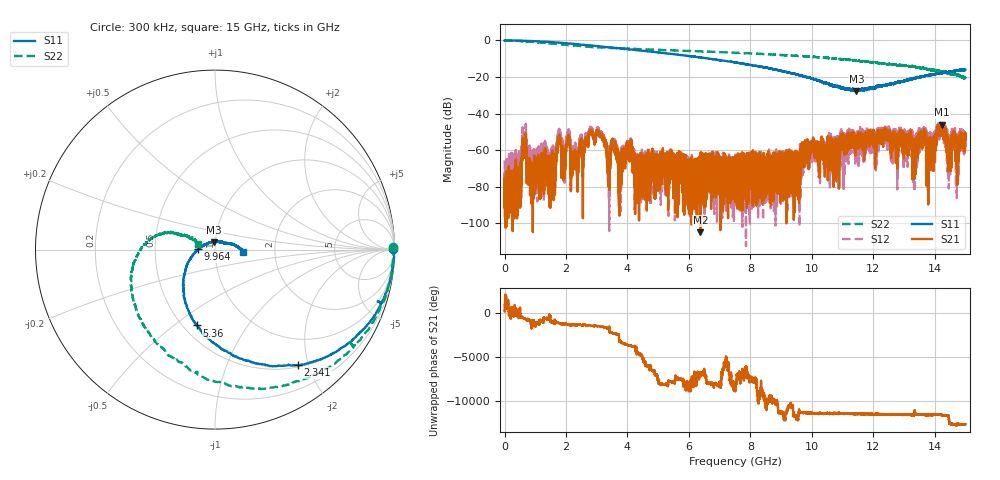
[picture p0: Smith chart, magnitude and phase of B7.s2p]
!Agilent Technologies,N5230C,SG49000117,A.08.50.07
!Agilent N5230C: A.08.50.07
!Date: Monday, December 11, 2023 21:35:51
!Correction: S11(Full 2 Port(1,2))
!S21(Full 2 Port(1,2))
!S12(Full 2 Port(1,2))
!S22(Full 2 Port(1,2))
!S2P File: Measurements: S11, S21, S12, S22:
# Hz S  RI  R 50
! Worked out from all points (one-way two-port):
!   20001 points, 300 kHz to 15 GHz, reference 50 ohm
!   highest |S21| = -46.07 dB at 14.24 GHz (marker M1); lowest = -104.9 dB at 6.376 GHz (marker M2)
!   lowest |S11| = -27.8 dB at 11.45 GHz (marker M3), VSWR 1.09, Z = 49.3 + j4.02 ohm
!   |S11| at or under -10 dB: 6.682459 GHz to 6.686089 GHz (3.63 MHz wide, 0.0543 % of centre); 6.68876 GHz to 6.691341 GHz (2.581 MHz wide, 0.0386 % of centre); 6.693 GHz to end of sweep (the widest 3 of 8)
!   |S22| runs from -21.0 to 0.0 dB; largest |S21 - S12| = 0.0032
!   S11 on the Smith chart (normalised r, x): 300 kHz: open; 2.341 GHz: 0.53, -1.83; 5.36 GHz: 0.58, -0.61; 9.964 GHz: 0.83, +0.00; 15 GHz: 1.37, -0.04
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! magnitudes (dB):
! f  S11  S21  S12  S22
! 300 kHz  -0.1  -75.8  -65.6  -0.1
! 478 MHz  -0.1  -79.7  -77.7  -0.3
! 644.5 MHz  -0.2  -60.2  -55.9  -0.4
! 901.8 MHz  -0.3  -78.3  -63.5  -0.7
! 1.589 GHz  -1.0  -69.3  -72.9  -1.7
! 1.767 GHz  -1.2  -54.2  -50.0  -2.1
! 2.341 GHz  -2.0  -67.9  -62.8  -2.8
! 2.501 GHz  -2.3  -55.4  -51.7  -3.1
! 3.059 GHz  -3.2  -50.1  -49.8  -3.8
! 3.382 GHz  -3.7  -67.5  -71.6  -4.0
! 5 GHz  -6.6  -64.1  -73.5  -5.2
! 5.36 GHz  -7.2  -64.5  -80.0  -5.3
! 6.376 GHz  -9.3  -104.9  -66.4  -6.0
! 7.5 GHz  -12.0  -73.1  -76.1  -6.7
! 9.964 GHz  -20.5  -60.9  -63.0  -8.9
! 10 GHz  -20.9  -56.2  -57.6  -8.9
! 11.45 GHz  -27.8  -56.1  -57.0  -11.1
! 12.5 GHz  -24.0  -51.5  -48.4  -13.0
! 13.34 GHz  -20.8  -66.4  -82.8  -14.1
! 14.24 GHz  -17.8  -46.1  -47.9  -17.1
! 14.48 GHz  -17.1  -59.3  -57.8  -18.1
! 15 GHz  -16.1  -53.2  -56.5  -20.1
